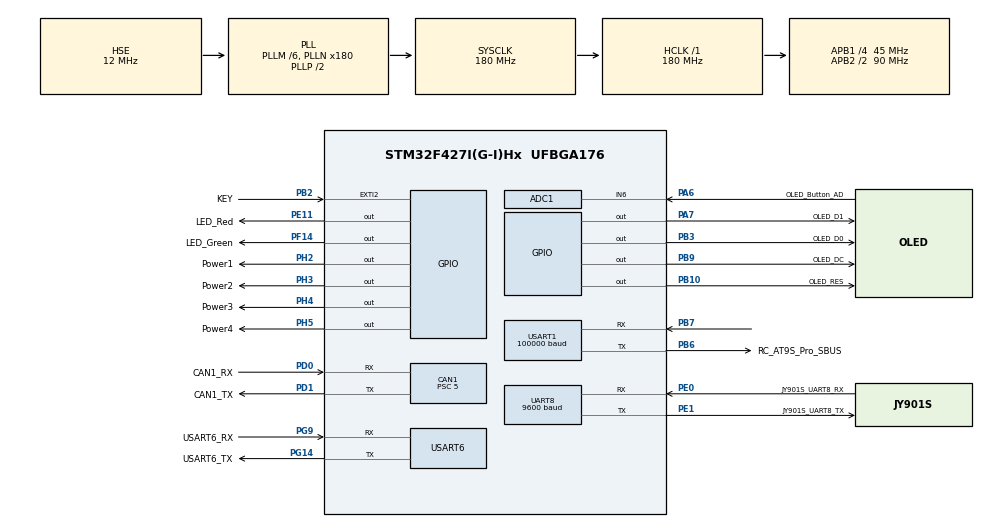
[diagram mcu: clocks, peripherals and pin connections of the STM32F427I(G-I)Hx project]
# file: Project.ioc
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ADC1.Channel-0\#ChannelRegularConversion=ADC_CHANNEL_6
ADC1.ContinuousConvMode=ENABLE
ADC1.InjNumberOfConversion=0
ADC1.NbrOfConversionFlag=1
ADC1.Rank-0\#ChannelRegularConversion=1
ADC1.SamplingTime-0\#ChannelRegularConversion=ADC_SAMPLETIME_3CYCLES
ADC1.master=1
CAN1.BS1=CAN_BS1_3TQ
CAN1.BS2=CAN_BS2_5TQ
CAN1.CalculateBaudRate=1000000
CAN1.CalculateTimeBit=1000
CAN1.CalculateTimeQuantum=111.11111111111111
CAN1.Prescaler=5
Mcu.Family=STM32F4
Mcu.Name=STM32F427I(G-I)Hx
Mcu.Package=UFBGA176
NVIC.ADC_IRQn=true\:0\:0\:false\:false\:true\:true\:true\:true
NVIC.CAN1_RX0_IRQn=true\:5\:0\:true\:false\:true\:true\:true\:true
NVIC.EXTI2_IRQn=true\:0\:0\:false\:false\:true\:true\:true\:true
NVIC.PriorityGroup=NVIC_PRIORITYGROUP_4
NVIC.UART8_IRQn=true\:0\:0\:false\:false\:true\:true\:true\:true
NVIC.USART1_IRQn=true\:0\:0\:false\:false\:true\:true\:true\:true
NVIC.USART6_IRQn=true\:0\:0\:false\:false\:true\:true\:true\:true
PA13.Mode=Serial_Wire
PA13.Signal=SYS_JTMS-SWDIO
PA14.Mode=Serial_Wire
PA14.Signal=SYS_JTCK-SWCLK
PA6.GPIO_Label=OLED_Button_AD
PA6.Signal=ADCx_IN6
PA7.GPIO_Label=OLED_D1
PA7.GPIO_PuPd=GPIO_PULLUP
PA7.GPIO_Speed=GPIO_SPEED_FREQ_HIGH
PA7.Signal=GPIO_Output
PB10.GPIO_Label=OLED_RES
PB10.GPIO_PuPd=GPIO_PULLUP
PB10.GPIO_Speed=GPIO_SPEED_FREQ_HIGH
PB10.Signal=GPIO_Output
PB2/BOOT1.GPIO_Label=KEY
PB2/BOOT1.GPIO_PuPd=GPIO_PULLDOWN
PB2/BOOT1.Signal=GPXTI2
PB3.GPIO_Label=OLED_D0
PB3.GPIO_PuPd=GPIO_PULLUP
PB3.GPIO_Speed=GPIO_SPEED_FREQ_HIGH
PB3.Signal=GPIO_Output
PB6.GPIO_Label=RC_AT9S_Pro_SBUS
PB6.Mode=Asynchronous
PB6.Signal=USART1_TX
PB7.Mode=Asynchronous
PB7.Signal=USART1_RX
PB9.GPIO_Label=OLED_DC
PB9.GPIO_PuPd=GPIO_PULLUP
PB9.GPIO_Speed=GPIO_SPEED_FREQ_HIGH
PB9.Signal=GPIO_Output
PD0.GPIO_Label=CAN1_RX
PD0.Mode=CAN_Activate
PD0.Signal=CAN1_RX
PD1.GPIO_Label=CAN1_TX
PD1.Mode=CAN_Activate
PD1.Signal=CAN1_TX
PE0.GPIO_Label=JY901S_UART8_RX
PE0.GPIO_ModeDefaultPP=GPIO_MODE_AF_PP
PE0.GPIO_PuPd=GPIO_PULLUP
PE0.GPIO_Speed=GPIO_SPEED_FREQ_VERY_HIGH
PE0.Mode=Asynchronous
PE0.Signal=UART8_RX
PE1.GPIO_Label=JY901S_UART8_TX
PE1.GPIO_ModeDefaultPP=GPIO_MODE_AF_PP
PE1.GPIO_PuPd=GPIO_PULLUP
PE1.GPIO_Speed=GPIO_SPEED_FREQ_VERY_HIGH
PE1.Mode=Asynchronous
PE1.Signal=UART8_TX
PE11.GPIO_Label=LED_Red
PE11.GPIO_PuPd=GPIO_PULLUP
PE11.GPIO_Speed=GPIO_SPEED_FREQ_LOW
PE11.Signal=GPIO_Output
PF14.GPIO_Label=LED_Green
PF14.GPIO_PuPd=GPIO_PULLUP
PF14.GPIO_Speed=GPIO_SPEED_FREQ_LOW
PF14.Signal=GPIO_Output
PG14.GPIO_Label=USART6_TX
PG14.GPIO_PuPd=GPIO_PULLUP
PG14.GPIO_Speed=GPIO_SPEED_FREQ_VERY_HIGH
PG14.Mode=Asynchronous
PG14.Signal=USART6_TX
PG9.GPIO_Label=USART6_RX
PG9.GPIO_PuPd=GPIO_PULLUP
PG9.GPIO_Speed=GPIO_SPEED_FREQ_VERY_HIGH
PG9.Mode=Asynchronous
PG9.Signal=USART6_RX
PH0/OSC_IN.Mode=HSE-External-Oscillator
PH0/OSC_IN.Signal=RCC_OSC_IN
PH1/OSC_OUT.Mode=HSE-External-Oscillator
PH1/OSC_OUT.Signal=RCC_OSC_OUT
PH2.GPIO_Label=Power1
PH2.GPIO_ModeDefaultOutputPP=GPIO_MODE_OUTPUT_PP
PH2.GPIO_PuPd=GPIO_PULLDOWN
PH2.GPIO_Speed=GPIO_SPEED_FREQ_LOW
PH2.PinState=GPIO_PIN_RESET
PH2.Signal=GPIO_Output
PH3.GPIO_Label=Power2
PH3.GPIO_ModeDefaultOutputPP=GPIO_MODE_OUTPUT_PP
PH3.GPIO_PuPd=GPIO_PULLDOWN
PH3.GPIO_Speed=GPIO_SPEED_FREQ_LOW
PH3.PinState=GPIO_PIN_RESET
PH3.Signal=GPIO_Output
PH4.GPIO_Label=Power3
PH4.GPIO_ModeDefaultOutputPP=GPIO_MODE_OUTPUT_PP
PH4.GPIO_PuPd=GPIO_PULLDOWN
PH4.GPIO_Speed=GPIO_SPEED_FREQ_LOW
PH4.PinState=GPIO_PIN_RESET
PH4.Signal=GPIO_Output
PH5.GPIO_Label=Power4
PH5.GPIO_ModeDefaultOutputPP=GPIO_MODE_OUTPUT_PP
PH5.GPIO_PuPd=GPIO_PULLDOWN
PH5.GPIO_Speed=GPIO_SPEED_FREQ_LOW
PH5.PinState=GPIO_PIN_RESET
PH5.Signal=GPIO_Output
ProjectManager.HeapSize=0x200
ProjectManager.StackSize=0x400
ProjectManager.TargetToolchain=MDK-ARM V5.32
RCC.48MHZClocksFreq_Value=90000000
RCC.AHBFreq_Value=180000000
RCC.APB1CLKDivider=RCC_HCLK_DIV4
RCC.APB1Freq_Value=45000000
RCC.APB1TimFreq_Value=90000000
RCC.APB2CLKDivider=RCC_HCLK_DIV2
RCC.APB2Freq_Value=90000000
RCC.APB2TimFreq_Value=180000000
RCC.CortexFreq_Value=180000000
RCC.HCLKFreq_Value=180000000
RCC.HSE_VALUE=12000000
RCC.HSI_VALUE=16000000
RCC.LSE_VALUE=32768
RCC.PLLM=6
RCC.PLLN=180
RCC.PLLSourceVirtual=RCC_PLLSOURCE_HSE
RCC.SYSCLKFreq_VALUE=180000000
RCC.SYSCLKSource=RCC_SYSCLKSOURCE_PLLCLK
RCC.VCOOutputFreq_Value=360000000
SH.ADCx_IN6.0=ADC1_IN6,IN6
UART8.BaudRate=9600
UART8.VirtualMode=Asynchronous
USART1.BaudRate=100000
USART1.Mode=MODE_TX_RX
USART1.Parity=PARITY_EVEN
USART1.StopBits=STOPBITS_2
USART1.VirtualMode=VM_ASYNC
USART1.WordLength=WORDLENGTH_9B
USART6.VirtualMode=VM_ASYNC
board=custom

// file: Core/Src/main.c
/* USER CODE BEGIN Header */
/**
  ******************************************************************************
  * @file           : main.c
  * @brief          : Main program body
  ******************************************************************************
  * @attention
  *
  * Copyright (c) 2024 STMicroelectronics.
  * All rights reserved.
  *
  * This software is licensed under terms that can be found in the LICENSE file
  * in the root directory of this software component.
  * If no LICENSE file comes with this software, it is provided AS-IS.
  *
  ******************************************************************************
  */
/* USER CODE END Header */
#include "main.h"
#include "adc.h"
#include "can.h"
#include "usart.h"
#include "gpio.h"

void SystemClock_Config(void);

int main(void)
{

  /* MCU Configuration--------------------------------------------------------*/

  /* Reset of all peripherals, Initializes the Flash interface and the Systick. */
  HAL_Init();

  /* Configure the system clock */
  SystemClock_Config();

  /* Initialize all configured peripherals */
  MX_GPIO_Init();
  MX_ADC1_Init();
  MX_CAN1_Init();
  MX_USART6_UART_Init();
  MX_UART8_Init();
  MX_USART1_UART_Init();
  /* USER CODE BEGIN 2 */
  Delay_Init(180);
  LED_Init();
  KEY_Init();
  OLED_Init();
  OLED_Button_Init();
  Power_Init();
  HAL_UART_Receive_IT(&huart1, rx, 1);

//  Motor_Preferred_Init();

//  for(int i=0; i<4; i++)
//  {
//    Motor_PID_Init(&Motor_PID[i]);
//    Motor_PID[i].F_Motor_PID_Param_Init(&Motor_PID[i], PID_DELTA, 16384, 5000, 10, 0, PID);
//  }
//  Motor_Data[0] = Get_Motor_Measure_Pointer(0);       //获取ID为1号的电机数据指针
//  Motor_Data[1] = Get_Motor_Measure_Pointer(1);       //获取ID为2号的电机数据指针
//  Motor_Data[2] = Get_Motor_Measure_Pointer(2);       //获取ID为3号的电机数据指针
//  Motor_Data[3] = Get_Motor_Measure_Pointer(3);       //获取ID为4号的电机数据指针
//  HAL_Delay(100);
//
//  HAL_UART_Receive_IT(&UARTX_Handle, Receive_Data.Receive_Data_Buf, SEND_DATA_SIZE);
//  HAL_UART_Receive_IT(&JY901S_UARTX_Handle, USART_Rx_Data_JY901S, 1);
  /* USER CODE END 2 */

  /* Infinite loop */
  while (1)
  {

    /* USER CODE BEGIN 3 */
    if(i == 1)
    {
      if(SBUS_end == 1){
      //HAL_UART_Transmit(&huart2, SBUS_data, 25, 0xff);
        SBUS_thoroughfare_analysis(0);//HAL_UART_Transmit(&huart2, (uint8_t *)"\r\n", 5, 0xff);
        //printf("%d\r\n",SBUS_data[0]);
      SBUS_end=0;
      SBUS_init=0;
      SBUS_cnt=0;
      }

      HAL_UART_Receive_IT(&huart1, rx, 1);
    }

    HAL_Delay(10);
  }
  /* USER CODE END 3 */
}

void SystemClock_Config(void)
{
  RCC_OscInitTypeDef RCC_OscInitStruct = {0};
  RCC_ClkInitTypeDef RCC_ClkInitStruct = {0};

  /** Configure the main internal regulator output voltage
  */
  __HAL_RCC_PWR_CLK_ENABLE();
  __HAL_PWR_VOLTAGESCALING_CONFIG(PWR_REGULATOR_VOLTAGE_SCALE1);

  /** Initializes the RCC Oscillators according to the specified parameters
  * in the RCC_OscInitTypeDef structure.
  */
  RCC_OscInitStruct.OscillatorType = RCC_OSCILLATORTYPE_HSE;
  RCC_OscInitStruct.HSEState = RCC_HSE_ON;
  RCC_OscInitStruct.PLL.PLLState = RCC_PLL_ON;
  RCC_OscInitStruct.PLL.PLLSource = RCC_PLLSOURCE_HSE;
  RCC_OscInitStruct.PLL.PLLM = 6;
  RCC_OscInitStruct.PLL.PLLN = 180;
  RCC_OscInitStruct.PLL.PLLP = RCC_PLLP_DIV2;
  RCC_OscInitStruct.PLL.PLLQ = 4;
  if (HAL_RCC_OscConfig(&RCC_OscInitStruct) != HAL_OK)
  {
    Error_Handler();
  }

  /** Activate the Over-Drive mode
  */
  if (HAL_PWREx_EnableOverDrive() != HAL_OK)
  {
    Error_Handler();
  }

  /** Initializes the CPU, AHB and APB buses clocks
  */
  RCC_ClkInitStruct.ClockType = RCC_CLOCKTYPE_HCLK|RCC_CLOCKTYPE_SYSCLK
                              |RCC_CLOCKTYPE_PCLK1|RCC_CLOCKTYPE_PCLK2;
  RCC_ClkInitStruct.SYSCLKSource = RCC_SYSCLKSOURCE_PLLCLK;
  RCC_ClkInitStruct.AHBCLKDivider = RCC_SYSCLK_DIV1;
  RCC_ClkInitStruct.APB1CLKDivider = RCC_HCLK_DIV4;
  RCC_ClkInitStruct.APB2CLKDivider = RCC_HCLK_DIV2;

  if (HAL_RCC_ClockConfig(&RCC_ClkInitStruct, FLASH_LATENCY_5) != HAL_OK)
  {
    Error_Handler();
  }
}

void Error_Handler(void)
{
  __disable_irq();
  while (1)
  {
  }
}
